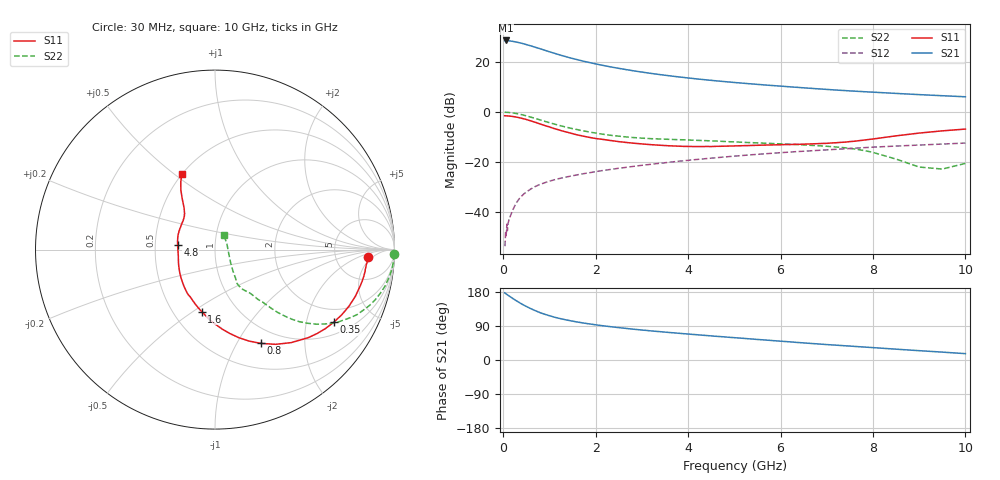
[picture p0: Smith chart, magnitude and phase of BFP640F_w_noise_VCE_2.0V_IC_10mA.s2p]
! Infineon Technologies  Discrete & RF Semiconductors
! BFP640F
! VCE =  2.0 V,  IC =  10 mA
! Common Emitter S-Parameters:  Apr 2013
# GHz  S  MA  R  50
!  f  S11  S21  S12  S22
! GHz  MAG  ANG  MAG  ANG  MAG  ANG  MAG  ANG
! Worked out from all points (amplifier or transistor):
!   99 points, 30 MHz to 10 GHz, reference 50 ohm
!   highest |S21| = 28.7 dB at 50 MHz (marker M1)
!   |S21| within 3 dB of that: start of sweep to 742.7 MHz
!   unconditionally stable (mu >= 1): 3.117 GHz to end of sweep
!   at 350 MHz: K = 0.20, MSG = 31.1 dB, |S12| = -34.5 dB
!   at 3.5 GHz: K = 1.02, MAG = 16.6 dB, |S12| = -20.2 dB
!   at 10 GHz: K = 1.07, MAG = 7.7 dB, |S12| = -12.3 dB
!   lowest NFmin = 0.63 dB at 450 MHz
!   S11 on the Smith chart (normalised r, x): 30 MHz: 11, -3; 350 MHz: 1.44, -2.92; 800 MHz: 0.80, -1.26; 1.6 GHz: 0.69, -0.54; 4.8 GHz: 0.65, +0.04; 10 GHz: 0.50, +0.54
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0.03  0.8511 -2.7  26.89 177.3  0.0021 93.3  0.9956 -1.5
0.05  0.8507 -4.9  27.22 175.7  0.0039 56.9  0.9975 -3.0
0.12  0.8402 -11.2  26.86 169.5  0.0067 81.0  0.9892 -7.2
0.2  0.8242 -18.4  26.16 162.9  0.0107 85.0  0.9704 -11.9
0.3  0.7945 -27.1  25.11 155.1  0.0162 77.2  0.9359 -17.3
0.35  0.7765 -31.3  24.49 151.4  0.0188 75.8  0.9159 -19.8
0.45  0.7364 -39.4  23.22 144.5  0.0234 73.4  0.8713 -24.5
0.6  0.6704 -50.6  21.19 135.3  0.0293 69.2  0.7966 -30.4
0.8  0.5813 -64.0  18.58 124.8  0.0362 64.8  0.7022 -36.3
1  0.5076 -75.0  16.17 116.9  0.0419 62.3  0.6183 -40.5
1.2  0.4442 -84.9  14.19 110.2  0.0469 60.4  0.5492 -43.2
1.4  0.3949 -93.8  12.56 104.9  0.0515 59.3  0.4936 -45.1
1.6  0.3529 -102.2  11.26 100.3  0.0559 58.3  0.4498 -46.3
1.7  0.3376 -106.0  10.68 98.3  0.0582 58.1  0.4289 -46.7
2.1  0.2911 -121.2  8.86 91.2  0.0672 57.0  0.3697 -49.1
2.4  0.2662 -130.9  7.83 86.8  0.0736 56.4  0.3398 -50.1
3.4  0.2185 -158.4  5.644 74.7  0.0956 54.1  0.2908 -53.0
4.8  0.21 172.9  4.089 60.8  0.1276 49.1  0.2601 -55.8
5.1  0.2134 167.9  3.866 58.0  0.1347 48.0  0.253 -56.2
6.7  0.2334 142.9  2.987 43.3  0.1705 40.4  0.2168 -56.5
8.5  0.3373 122.8  2.378 28.6  0.2108 31.3  0.1156 -40.7
10  0.4611 113.5  2.037 16.8  0.2418 23.2  0.0948 58.5
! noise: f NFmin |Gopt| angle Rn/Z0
0.45  0.63  0.2  7  0.06
0.9  0.63  0.19  19  0.06
1.5  0.65  0.18  28  0.07
1.9  0.67  0.17  43  0.08
2.4  0.7  0.15  55  0.08
3.5  0.79  0.12  85  0.1
5.5  0.99  0.13  -177  0.13
10  1.54  0.4  -98  0.34
